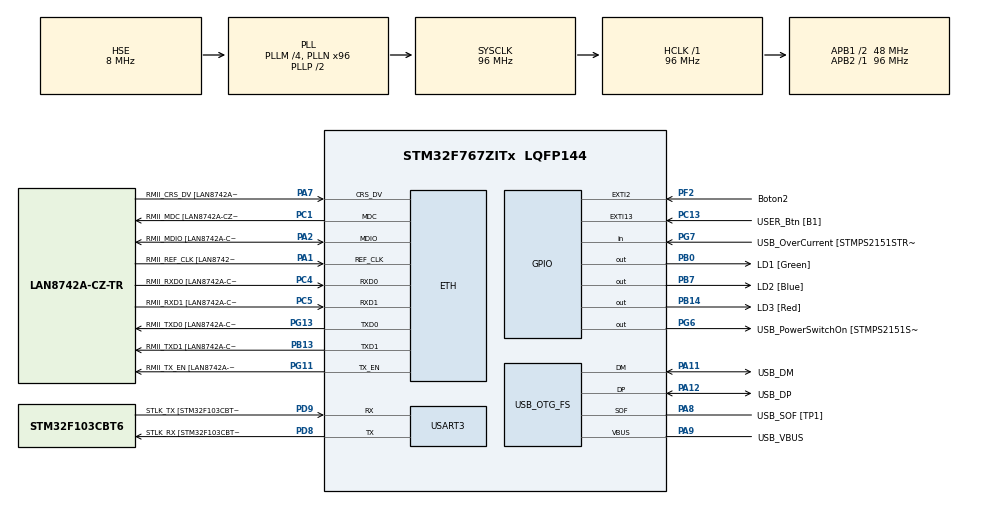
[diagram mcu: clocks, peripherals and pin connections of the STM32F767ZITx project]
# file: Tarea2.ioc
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ETH.MediaInterface=HAL_ETH_RMII_MODE
ETH.PHY_Name=LAN8742A_PHY_ADDRESS
ETH.PHY_Value=0
ETH.PhyAddress=0
Mcu.Family=STM32F7
Mcu.Name=STM32F767ZITx
Mcu.Package=LQFP144
NVIC.EXTI15_10_IRQn=true\:0\:0\:false\:false\:true\:true\:true\:true
NVIC.EXTI2_IRQn=true\:0\:0\:false\:false\:true\:true\:true\:true
NVIC.PriorityGroup=NVIC_PRIORITYGROUP_4
PA1.GPIO_Label=RMII_REF_CLK [LAN8742A-CZ-TR_REFCLK0]
PA1.Mode=RMII
PA1.Signal=ETH_REF_CLK
PA10.GPIO_Label=USB_ID
PA10.Signal=USB_OTG_FS_ID
PA11.GPIO_Label=USB_DM
PA11.Mode=Device_Only
PA11.Signal=USB_OTG_FS_DM
PA12.GPIO_Label=USB_DP
PA12.Mode=Device_Only
PA12.Signal=USB_OTG_FS_DP
PA13.GPIO_Label=TMS
PA13.Mode=Trace_Asynchronous_SW
PA13.Signal=SYS_JTMS-SWDIO
PA14.GPIO_Label=TCK
PA14.Mode=Trace_Asynchronous_SW
PA14.Signal=SYS_JTCK-SWCLK
PA2.GPIO_Label=RMII_MDIO [LAN8742A-CZ-TR_MDIO]
PA2.Mode=RMII
PA2.Signal=ETH_MDIO
PA7.GPIO_Label=RMII_CRS_DV [LAN8742A-CZ-TR_CRS_DV]
PA7.Mode=RMII
PA7.Signal=ETH_CRS_DV
PA8.GPIO_Label=USB_SOF [TP1]
PA8.Mode=Activate_SOF_FS
PA8.Signal=USB_OTG_FS_SOF
PA9.GPIO_Label=USB_VBUS
PA9.Mode=Activate_VBUS
PA9.Signal=USB_OTG_FS_VBUS
PB0.GPIO_Label=LD1 [Green]
PB0.Signal=GPIO_Output
PB13.GPIO_Label=RMII_TXD1 [LAN8742A-CZ-TR_TXD1]
PB13.Mode=RMII
PB13.Signal=ETH_TXD1
PB14.GPIO_Label=LD3 [Red]
PB14.Signal=GPIO_Output
PB3.GPIO_Label=SWO
PB3.Mode=Trace_Asynchronous_SW
PB3.Signal=SYS_JTDO-SWO
PB7.GPIO_Label=LD2 [Blue]
PB7.Signal=GPIO_Output
PC1.GPIO_Label=RMII_MDC [LAN8742A-CZ-TR_MDC]
PC1.Mode=RMII
PC1.Signal=ETH_MDC
PC13.GPIO_Label=USER_Btn [B1]
PC13.Signal=GPXTI13
PC14/OSC32_IN.Mode=LSE-External-Oscillator
PC14/OSC32_IN.Signal=RCC_OSC32_IN
PC15/OSC32_OUT.Mode=LSE-External-Oscillator
PC15/OSC32_OUT.Signal=RCC_OSC32_OUT
PC4.GPIO_Label=RMII_RXD0 [LAN8742A-CZ-TR_RXD0]
PC4.Mode=RMII
PC4.Signal=ETH_RXD0
PC5.GPIO_Label=RMII_RXD1 [LAN8742A-CZ-TR_RXD1]
PC5.Mode=RMII
PC5.Signal=ETH_RXD1
PD8.GPIO_Label=STLK_RX [STM32F103CBT6_PA3]
PD8.Mode=Asynchronous
PD8.Signal=USART3_TX
PD9.GPIO_Label=STLK_TX [STM32F103CBT6_PA2]
PD9.Mode=Asynchronous
PD9.Signal=USART3_RX
PF2.GPIO_Label=Boton2
PF2.GPIO_ModeDefaultEXTI=GPIO_MODE_IT_RISING
PF2.GPIO_PuPd=GPIO_PULLDOWN
PF2.Signal=GPXTI2
PG11.GPIO_Label=RMII_TX_EN [LAN8742A-CZ-TR_TXEN]
PG11.Mode=RMII
PG11.Signal=ETH_TX_EN
PG13.GPIO_Label=RMII_TXD0 [LAN8742A-CZ-TR_TXD0]
PG13.Mode=RMII
PG13.Signal=ETH_TXD0
PG6.GPIO_Label=USB_PowerSwitchOn [STMPS2151STR_EN]
PG6.Signal=GPIO_Output
PG7.GPIO_Label=USB_OverCurrent [STMPS2151STR_FAULT]
PG7.Signal=GPIO_Input
PH0/OSC_IN.GPIO_Label=MCO [STM32F103CBT6_PA8]
PH0/OSC_IN.Mode=HSE-External-Clock-Source
PH0/OSC_IN.Signal=RCC_OSC_IN
PH1/OSC_OUT.Mode=HSE-External-Clock-Source
PH1/OSC_OUT.Signal=RCC_OSC_OUT
ProjectManager.HeapSize=0x200
ProjectManager.StackSize=0x400
ProjectManager.TargetToolchain=STM32CubeIDE
RCC.48MHZClocksFreq_Value=24000000
RCC.AHBFreq_Value=96000000
RCC.APB1CLKDivider=RCC_HCLK_DIV2
RCC.APB1Freq_Value=48000000
RCC.APB1TimFreq_Value=96000000
RCC.APB2Freq_Value=96000000
RCC.APB2TimFreq_Value=96000000
RCC.CortexFreq_Value=96000000
RCC.HCLKFreq_Value=96000000
RCC.HSE_VALUE=8000000
RCC.HSI_VALUE=16000000
RCC.PLLM=4
RCC.PLLMUL=RCC_PLL_MUL9
RCC.PLLN=96
RCC.PLLQ=4
RCC.PRESCALERUSB=RCC_USBCLKSOURCE_PLL_DIV1_5
RCC.SYSCLKFreq_VALUE=96000000
RCC.SYSCLKSource=RCC_SYSCLKSOURCE_PLLCLK
RCC.SYSCLKSourceVirtual=RCC_SYSCLKSOURCE_PLLCLK
RCC.USBFreq_Value=48000000
RCC.VCOOutputFreq_Value=192000000
USART3.VirtualMode-Asynchronous=VM_ASYNC
USB_OTG_FS.VirtualMode=Device_Only
board=NUCLEO-F767ZI

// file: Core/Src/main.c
/* USER CODE BEGIN Header */
/**
  ******************************************************************************
  * @file           : main.c
  * @brief          : Main program body
  ******************************************************************************
  * @attention
  *
  * Copyright (c) 2024 STMicroelectronics.
  * All rights reserved.
  *
  * This software is licensed under terms that can be found in the LICENSE file
  * in the root directory of this software component.
  * If no LICENSE file comes with this software, it is provided AS-IS.
  *
  ******************************************************************************
  */
/* USER CODE END Header */
#include "main.h"
#include "string.h"

/* USER CODE BEGIN Includes */
#include "stdio.h"
#include <stdlib.h>
/* USER CODE END Includes */

/* USER CODE BEGIN PM */
#define ITM_Port32(n) (*((volatile unsigned long *)(0xE0000000+4*n)))
/* USER CODE END PM */

#if defined ( __ICCARM__ ) /*!< IAR Compiler */
#pragma location=0x2007c000
ETH_DMADescTypeDef  DMARxDscrTab[ETH_RX_DESC_CNT]; /* Ethernet Rx DMA Descriptors */
#pragma location=0x2007c0a0
ETH_DMADescTypeDef  DMATxDscrTab[ETH_TX_DESC_CNT]; /* Ethernet Tx DMA Descriptors */

#elif defined ( __CC_ARM )  /* MDK ARM Compiler */

__attribute__((at(0x2007c000))) ETH_DMADescTypeDef  DMARxDscrTab[ETH_RX_DESC_CNT]; /* Ethernet Rx DMA Descriptors */
__attribute__((at(0x2007c0a0))) ETH_DMADescTypeDef  DMATxDscrTab[ETH_TX_DESC_CNT]; /* Ethernet Tx DMA Descriptors */

#elif defined ( __GNUC__ ) /* GNU Compiler */
ETH_DMADescTypeDef DMARxDscrTab[ETH_RX_DESC_CNT] __attribute__((section(".RxDecripSection"))); /* Ethernet Rx DMA Descriptors */
ETH_DMADescTypeDef DMATxDscrTab[ETH_TX_DESC_CNT] __attribute__((section(".TxDecripSection")));   /* Ethernet Tx DMA Descriptors */

#endif

ETH_TxPacketConfig TxConfig;

ETH_HandleTypeDef heth;

UART_HandleTypeDef huart3;

PCD_HandleTypeDef hpcd_USB_OTG_FS;

/* USER CODE BEGIN PV */
int State = 1;
int lastState = 1;
/* USER CODE END PV */

void SystemClock_Config(void);
static void MX_GPIO_Init(void);
static void MX_ETH_Init(void);
static void MX_USART3_UART_Init(void);
static void MX_USB_OTG_FS_PCD_Init(void);

int main(void)
{

  /* MCU Configuration--------------------------------------------------------*/

  /* Reset of all peripherals, Initializes the Flash interface and the Systick. */
  HAL_Init();

  /* Configure the system clock */
  SystemClock_Config();

  /* USER CODE BEGIN SysInit */
  ITM_Port32(31) = 1;
  /* USER CODE END SysInit */

  /* Initialize all configured peripherals */
  MX_GPIO_Init();
  MX_ETH_Init();
  MX_USART3_UART_Init();
  MX_USB_OTG_FS_PCD_Init();
  /* USER CODE BEGIN 2 */
  ITM_Port32(31) = 2;
  /* USER CODE END 2 */

  /* Infinite loop */
  while (1)
  {

    /* USER CODE BEGIN 3 */
	  if(abs(State) == 0){
	  	  		 HAL_GPIO_WritePin(LD1_GPIO_Port, LD1_Pin, 0);
	  	  		 HAL_GPIO_WritePin(LD2_GPIO_Port, LD2_Pin, 1);
	  	  		 printf("Estado actual: S0 (0,1)\n");
	  }else if(abs(State) == 1){
	  	  		 HAL_GPIO_WritePin(LD1_GPIO_Port, LD1_Pin, 1);
	  	  		 HAL_GPIO_WritePin(LD2_GPIO_Port, LD2_Pin, 0);
	  	  		 printf("Estado actual: S1 (1,0)\n");
	  }else if(abs(State) == 2){
	  	  		 HAL_GPIO_WritePin(LD1_GPIO_Port, LD1_Pin, 1);
	  	  		 HAL_GPIO_WritePin(LD2_GPIO_Port, LD2_Pin, 1);
	  	  		 printf("Estado actual: S2 (1,1)\n");
	  }else if(abs(State) == 3){
	  	  		 HAL_GPIO_WritePin(LD1_GPIO_Port, LD1_Pin, 0);
	  	  		 HAL_GPIO_WritePin(LD2_GPIO_Port, LD2_Pin, 0);
	  	  		 printf("Estado actual: S3 (0,0)\n");
	  }
	  HAL_Delay(500);
  }
  /* USER CODE END 3 */
}

void SystemClock_Config(void)
{
  RCC_OscInitTypeDef RCC_OscInitStruct = {0};
  RCC_ClkInitTypeDef RCC_ClkInitStruct = {0};

  /** Configure LSE Drive Capability
  */
  HAL_PWR_EnableBkUpAccess();

  /** Configure the main internal regulator output voltage
  */
  __HAL_RCC_PWR_CLK_ENABLE();
  __HAL_PWR_VOLTAGESCALING_CONFIG(PWR_REGULATOR_VOLTAGE_SCALE3);

  /** Initializes the RCC Oscillators according to the specified parameters
  * in the RCC_OscInitTypeDef structure.
  */
  RCC_OscInitStruct.OscillatorType = RCC_OSCILLATORTYPE_HSE;
  RCC_OscInitStruct.HSEState = RCC_HSE_BYPASS;
  RCC_OscInitStruct.PLL.PLLState = RCC_PLL_ON;
  RCC_OscInitStruct.PLL.PLLSource = RCC_PLLSOURCE_HSE;
  RCC_OscInitStruct.PLL.PLLM = 4;
  RCC_OscInitStruct.PLL.PLLN = 96;
  RCC_OscInitStruct.PLL.PLLP = RCC_PLLP_DIV2;
  RCC_OscInitStruct.PLL.PLLQ = 4;
  RCC_OscInitStruct.PLL.PLLR = 2;
  if (HAL_RCC_OscConfig(&RCC_OscInitStruct) != HAL_OK)
  {
    Error_Handler();
  }

  /** Activate the Over-Drive mode
  */
  if (HAL_PWREx_EnableOverDrive() != HAL_OK)
  {
    Error_Handler();
  }

  /** Initializes the CPU, AHB and APB buses clocks
  */
  RCC_ClkInitStruct.ClockType = RCC_CLOCKTYPE_HCLK|RCC_CLOCKTYPE_SYSCLK
                              |RCC_CLOCKTYPE_PCLK1|RCC_CLOCKTYPE_PCLK2;
  RCC_ClkInitStruct.SYSCLKSource = RCC_SYSCLKSOURCE_PLLCLK;
  RCC_ClkInitStruct.AHBCLKDivider = RCC_SYSCLK_DIV1;
  RCC_ClkInitStruct.APB1CLKDivider = RCC_HCLK_DIV2;
  RCC_ClkInitStruct.APB2CLKDivider = RCC_HCLK_DIV1;

  if (HAL_RCC_ClockConfig(&RCC_ClkInitStruct, FLASH_LATENCY_3) != HAL_OK)
  {
    Error_Handler();
  }
}

static void MX_ETH_Init(void)
{

   static uint8_t MACAddr[6];

  heth.Instance = ETH;
  MACAddr[0] = 0x00;
  MACAddr[1] = 0x80;
  MACAddr[2] = 0xE1;
  MACAddr[3] = 0x00;
  MACAddr[4] = 0x00;
  MACAddr[5] = 0x00;
  heth.Init.MACAddr = &MACAddr[0];
  heth.Init.MediaInterface = HAL_ETH_RMII_MODE;
  heth.Init.TxDesc = DMATxDscrTab;
  heth.Init.RxDesc = DMARxDscrTab;
  heth.Init.RxBuffLen = 1524;

  if (HAL_ETH_Init(&heth) != HAL_OK)
  {
    Error_Handler();
  }

  memset(&TxConfig, 0 , sizeof(ETH_TxPacketConfig));
  TxConfig.Attributes = ETH_TX_PACKETS_FEATURES_CSUM | ETH_TX_PACKETS_FEATURES_CRCPAD;
  TxConfig.ChecksumCtrl = ETH_CHECKSUM_IPHDR_PAYLOAD_INSERT_PHDR_CALC;
  TxConfig.CRCPadCtrl = ETH_CRC_PAD_INSERT;

}

static void MX_USART3_UART_Init(void)
{

  huart3.Instance = USART3;
  huart3.Init.BaudRate = 115200;
  huart3.Init.WordLength = UART_WORDLENGTH_8B;
  huart3.Init.StopBits = UART_STOPBITS_1;
  huart3.Init.Parity = UART_PARITY_NONE;
  huart3.Init.Mode = UART_MODE_TX_RX;
  huart3.Init.HwFlowCtl = UART_HWCONTROL_NONE;
  huart3.Init.OverSampling = UART_OVERSAMPLING_16;
  huart3.Init.OneBitSampling = UART_ONE_BIT_SAMPLE_DISABLE;
  huart3.AdvancedInit.AdvFeatureInit = UART_ADVFEATURE_NO_INIT;
  if (HAL_UART_Init(&huart3) != HAL_OK)
  {
    Error_Handler();
  }

}

static void MX_USB_OTG_FS_PCD_Init(void)
{

  hpcd_USB_OTG_FS.Instance = USB_OTG_FS;
  hpcd_USB_OTG_FS.Init.dev_endpoints = 6;
  hpcd_USB_OTG_FS.Init.speed = PCD_SPEED_FULL;
  hpcd_USB_OTG_FS.Init.dma_enable = DISABLE;
  hpcd_USB_OTG_FS.Init.phy_itface = PCD_PHY_EMBEDDED;
  hpcd_USB_OTG_FS.Init.Sof_enable = ENABLE;
  hpcd_USB_OTG_FS.Init.low_power_enable = DISABLE;
  hpcd_USB_OTG_FS.Init.lpm_enable = DISABLE;
  hpcd_USB_OTG_FS.Init.vbus_sensing_enable = ENABLE;
  hpcd_USB_OTG_FS.Init.use_dedicated_ep1 = DISABLE;
  if (HAL_PCD_Init(&hpcd_USB_OTG_FS) != HAL_OK)
  {
    Error_Handler();
  }

}

static void MX_GPIO_Init(void)
{
  GPIO_InitTypeDef GPIO_InitStruct = {0};

  /* GPIO Ports Clock Enable */
  __HAL_RCC_GPIOC_CLK_ENABLE();
  __HAL_RCC_GPIOF_CLK_ENABLE();
  __HAL_RCC_GPIOH_CLK_ENABLE();
  __HAL_RCC_GPIOA_CLK_ENABLE();
  __HAL_RCC_GPIOB_CLK_ENABLE();
  __HAL_RCC_GPIOD_CLK_ENABLE();
  __HAL_RCC_GPIOG_CLK_ENABLE();

  /*Configure GPIO pin Output Level */
  HAL_GPIO_WritePin(GPIOB, LD1_Pin|LD3_Pin|LD2_Pin, GPIO_PIN_RESET);

  /*Configure GPIO pin Output Level */
  HAL_GPIO_WritePin(USB_PowerSwitchOn_GPIO_Port, USB_PowerSwitchOn_Pin, GPIO_PIN_RESET);

  /*Configure GPIO pin : USER_Btn_Pin */
  GPIO_InitStruct.Pin = USER_Btn_Pin;
  GPIO_InitStruct.Mode = GPIO_MODE_IT_RISING;
  GPIO_InitStruct.Pull = GPIO_NOPULL;
  HAL_GPIO_Init(USER_Btn_GPIO_Port, &GPIO_InitStruct);

  /*Configure GPIO pin : Boton2_Pin */
  GPIO_InitStruct.Pin = Boton2_Pin;
  GPIO_InitStruct.Mode = GPIO_MODE_IT_RISING;
  GPIO_InitStruct.Pull = GPIO_PULLDOWN;
  HAL_GPIO_Init(Boton2_GPIO_Port, &GPIO_InitStruct);

  /*Configure GPIO pins : LD1_Pin LD3_Pin LD2_Pin */
  GPIO_InitStruct.Pin = LD1_Pin|LD3_Pin|LD2_Pin;
  GPIO_InitStruct.Mode = GPIO_MODE_OUTPUT_PP;
  GPIO_InitStruct.Pull = GPIO_NOPULL;
  GPIO_InitStruct.Speed = GPIO_SPEED_FREQ_LOW;
  HAL_GPIO_Init(GPIOB, &GPIO_InitStruct);

  /*Configure GPIO pin : USB_PowerSwitchOn_Pin */
  GPIO_InitStruct.Pin = USB_PowerSwitchOn_Pin;
  GPIO_InitStruct.Mode = GPIO_MODE_OUTPUT_PP;
  GPIO_InitStruct.Pull = GPIO_NOPULL;
  GPIO_InitStruct.Speed = GPIO_SPEED_FREQ_LOW;
  HAL_GPIO_Init(USB_PowerSwitchOn_GPIO_Port, &GPIO_InitStruct);

  /*Configure GPIO pin : USB_OverCurrent_Pin */
  GPIO_InitStruct.Pin = USB_OverCurrent_Pin;
  GPIO_InitStruct.Mode = GPIO_MODE_INPUT;
  GPIO_InitStruct.Pull = GPIO_NOPULL;
  HAL_GPIO_Init(USB_OverCurrent_GPIO_Port, &GPIO_InitStruct);

  /* EXTI interrupt init*/
  HAL_NVIC_SetPriority(EXTI2_IRQn, 0, 0);
  HAL_NVIC_EnableIRQ(EXTI2_IRQn);

  HAL_NVIC_SetPriority(EXTI15_10_IRQn, 0, 0);
  HAL_NVIC_EnableIRQ(EXTI15_10_IRQn);

}

/* USER CODE BEGIN 4 */
int _write(int file, char *ptr, int len)
{
	int DataIdx;
	 for(DataIdx=0; DataIdx<len; DataIdx++)
	 	 	 {
	 		 	 ITM_SendChar(*ptr++);
	 	 	 }
	 return len;
}
void HAL_GPIO_EXTI_Callback(uint16_t GPIO_Pin)
{
  if(GPIO_Pin == USER_Btn_Pin){
	  lastState=State;
	  State = (abs(State) + 1) % 4;
  }

  if(GPIO_Pin == Boton2_Pin){
	  lastState=State;
	  State = (State - 1) % 4;
  }
}
/* USER CODE END 4 */

void Error_Handler(void)
{
  __disable_irq();
  while (1)
  {
  }
}
